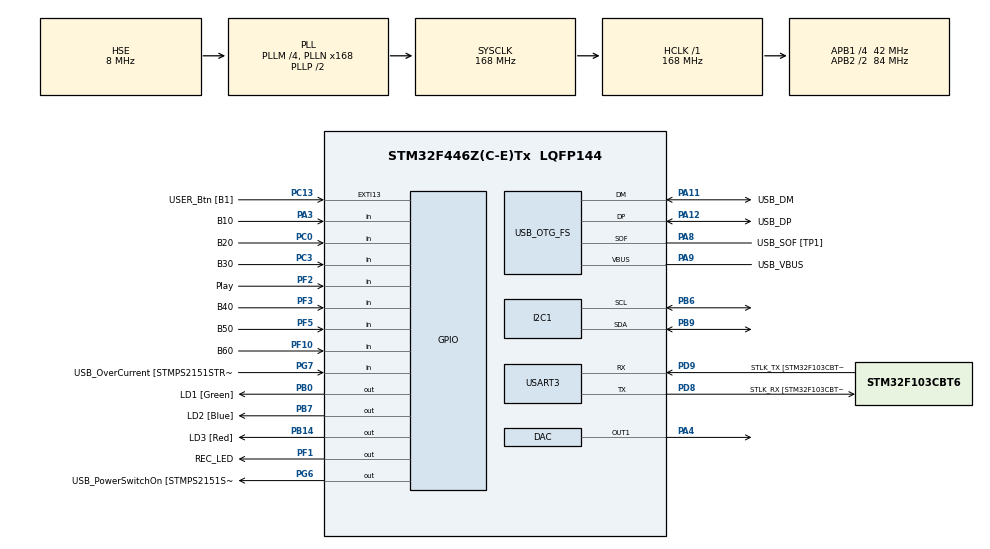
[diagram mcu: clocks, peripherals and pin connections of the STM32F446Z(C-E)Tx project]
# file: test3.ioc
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DAC.DAC_Trigger=DAC_TRIGGER_T4_TRGO
I2C1.I2C_Mode=I2C_Standard
Mcu.Family=STM32F4
Mcu.Name=STM32F446Z(C-E)Tx
Mcu.Package=LQFP144
NVIC.PriorityGroup=NVIC_PRIORITYGROUP_4
NVIC.TIM4_IRQn=true\:0\:0\:false\:false\:true\:true\:true\:true
PA10.GPIO_Label=USB_ID
PA10.Signal=USB_OTG_FS_ID
PA11.GPIO_Label=USB_DM
PA11.Mode=Device_Only
PA11.Signal=USB_OTG_FS_DM
PA12.GPIO_Label=USB_DP
PA12.Mode=Device_Only
PA12.Signal=USB_OTG_FS_DP
PA13.GPIO_Label=TMS
PA13.Mode=Serial_Wire
PA13.Signal=SYS_JTMS-SWDIO
PA14.GPIO_Label=TCK
PA14.Mode=Serial_Wire
PA14.Signal=SYS_JTCK-SWCLK
PA3.GPIO_Label=B10
PA3.GPIO_PuPd=GPIO_PULLDOWN
PA3.Signal=GPIO_Input
PA4.Signal=COMP_DAC1_group
PA8.GPIO_Label=USB_SOF [TP1]
PA8.Mode=Activate_SOF_FS
PA8.Signal=USB_OTG_FS_SOF
PA9.GPIO_Label=USB_VBUS
PA9.Mode=Activate_VBUS
PA9.Signal=USB_OTG_FS_VBUS
PB0.GPIO_Label=LD1 [Green]
PB0.Signal=GPIO_Output
PB14.GPIO_Label=LD3 [Red]
PB14.Signal=GPIO_Output
PB6.Mode=I2C
PB6.Signal=I2C1_SCL
PB7.GPIO_Label=LD2 [Blue]
PB7.Signal=GPIO_Output
PB9.Mode=I2C
PB9.Signal=I2C1_SDA
PC0.GPIO_Label=B20
PC0.GPIO_PuPd=GPIO_PULLDOWN
PC0.Signal=GPIO_Input
PC13.GPIO_Label=USER_Btn [B1]
PC13.Signal=GPXTI13
PC14-OSC32_IN.Mode=LSE-External-Oscillator
PC14-OSC32_IN.Signal=RCC_OSC32_IN
PC15-OSC32_OUT.Mode=LSE-External-Oscillator
PC15-OSC32_OUT.Signal=RCC_OSC32_OUT
PC3.GPIO_Label=B30
PC3.GPIO_PuPd=GPIO_PULLDOWN
PC3.Signal=GPIO_Input
PD8.GPIO_Label=STLK_RX [STM32F103CBT6_PA3]
PD8.Mode=Asynchronous
PD8.Signal=USART3_TX
PD9.GPIO_Label=STLK_TX [STM32F103CBT6_PA2]
PD9.Mode=Asynchronous
PD9.Signal=USART3_RX
PF1.GPIO_Label=REC_LED
PF1.Signal=GPIO_Output
PF10.GPIO_Label=B60
PF10.GPIO_PuPd=GPIO_PULLDOWN
PF10.Signal=GPIO_Input
PF2.GPIO_Label=Play
PF2.GPIO_PuPd=GPIO_PULLDOWN
PF2.Signal=GPIO_Input
PF3.GPIO_Label=B40
PF3.GPIO_PuPd=GPIO_PULLDOWN
PF3.Signal=GPIO_Input
PF5.GPIO_Label=B50
PF5.GPIO_PuPd=GPIO_PULLDOWN
PF5.Signal=GPIO_Input
PG6.GPIO_Label=USB_PowerSwitchOn [STMPS2151STR_EN]
PG6.Signal=GPIO_Output
PG7.GPIO_Label=USB_OverCurrent [STMPS2151STR_FAULT]
PG7.Signal=GPIO_Input
PH0-OSC_IN.GPIO_Label=MCO [STM32F103CBT6_PA8]
PH0-OSC_IN.Mode=HSE-External-Clock-Source
PH0-OSC_IN.Signal=RCC_OSC_IN
PH1-OSC_OUT.Mode=HSE-External-Clock-Source
PH1-OSC_OUT.Signal=RCC_OSC_OUT
ProjectManager.HeapSize=0x200
ProjectManager.StackSize=0x400
ProjectManager.TargetToolchain=STM32CubeIDE
RCC.48MHZClocksFreq_Value=24000000
RCC.AHBFreq_Value=168000000
RCC.APB1CLKDivider=RCC_HCLK_DIV4
RCC.APB1Freq_Value=42000000
RCC.APB1TimFreq_Value=84000000
RCC.APB2CLKDivider=RCC_HCLK_DIV2
RCC.APB2Freq_Value=84000000
RCC.APB2TimFreq_Value=168000000
RCC.CortexFreq_Value=168000000
RCC.HCLKFreq_Value=168000000
RCC.HSE_VALUE=8000000
RCC.HSI_VALUE=16000000
RCC.PLLM=4
RCC.PLLMUL=RCC_PLL_MUL9
RCC.PLLN=168
RCC.PLLQ=7
RCC.PRESCALERUSB=RCC_USBCLKSOURCE_PLL_DIV1_5
RCC.SYSCLKFreq_VALUE=168000000
RCC.SYSCLKSource=RCC_SYSCLKSOURCE_PLLCLK
RCC.SYSCLKSourceVirtual=RCC_SYSCLKSOURCE_PLLCLK
RCC.USBFreq_Value=48000000
RCC.VCOOutputFreq_Value=336000000
SH.COMP_DAC1_group.0=DAC_OUT1,DAC_OUT1
TIM4.Period=3809
TIM4.TIM_MasterOutputTrigger=TIM_TRGO_UPDATE
USART3.VirtualMode=VM_ASYNC
USB_OTG_FS.VirtualMode=Device_Only
VP_TIM4_VS_ClockSourceINT.Mode=Internal
board=NUCLEO-F446ZE

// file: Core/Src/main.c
/* USER CODE BEGIN Header */
/**
  ******************************************************************************
  * @file           : main.c
  * @brief          : Main program body
  ******************************************************************************
  * @attention
  *
  * Copyright (c) 2024 STMicroelectronics.
  * All rights reserved.
  *
  * This software is licensed under terms that can be found in the LICENSE file
  * in the root directory of this software component.
  * If no LICENSE file comes with this software, it is provided AS-IS.
  *
  ******************************************************************************
  */
/* USER CODE END Header */
#include "main.h"

/* USER CODE BEGIN Includes */
#include <stdio.h>
#include <string.h>
#include "crash-16bit.h"
#include "kick-16bit.h"
#include "tom1-16bit.h"
#include "snare-16bit.h"
#include "ride-16bit.h"
/* USER CODE END Includes */

/* USER CODE BEGIN PD */
#define NUM_TRACKS 5
#define NUM_BUTTONS 7
#define DAC_MAX_RANGE_UNSIGNED 32768 // 2^16 / 2
#define RECORD 1
#define DEFAULT 2
#define PLAY 0
/* USER CODE END PD */

/* USER CODE BEGIN PM */
#define NUM_SAMPLES(track) ((sizeof(track))/(sizeof(int16_t)))
/* USER CODE END PM */

DAC_HandleTypeDef hdac;

I2C_HandleTypeDef hi2c1;

TIM_HandleTypeDef htim4;

UART_HandleTypeDef huart3;

PCD_HandleTypeDef hpcd_USB_OTG_FS;

/* USER CODE BEGIN PV */
int timer_called;
/* USER CODE END PV */

void SystemClock_Config(void);
static void MX_GPIO_Init(void);
static void MX_USART3_UART_Init(void);
static void MX_USB_OTG_FS_PCD_Init(void);
static void MX_DAC_Init(void);
static void MX_TIM4_Init(void);
static void MX_I2C1_Init(void);

/* USER CODE BEGIN 0 */
/*
// Additional function to play a complete audio file uninterrupted
void play_sound(int totalSamples, const int16_t sound[]) {
	int currentSampleIndex = 0;
	while (currentSampleIndex < totalSamples)
	  {
		  signed int sample = sound[currentSampleIndex];

		  sample += 32768;
		  if (sample < -32768)
			  sample = -32768;
		  else if (sample > 32767)
			sample = 32767;

		  HAL_DAC_SetValue(&hdac, DAC_CHANNEL_1, DAC_ALIGN_12B_R, sample >>4);
		  currentSampleIndex++; // Move to the next sample
		  while(timer_called == 0) {
			continue;
		  }
		  timer_called = 0;
	  }
	// File done playing, reset current index
}
*/
/* USER CODE END 0 */

int main(void)
{

  /* MCU Configuration--------------------------------------------------------*/

  /* Reset of all peripherals, Initializes the Flash interface and the Systick. */
  HAL_Init();

  /* Configure the system clock */
  SystemClock_Config();

  /* Initialize all configured peripherals */
  MX_GPIO_Init();
  MX_USART3_UART_Init();
  MX_USB_OTG_FS_PCD_Init();
  MX_DAC_Init();
  MX_TIM4_Init();
  MX_I2C1_Init();
  /* USER CODE BEGIN 2 */
  char uart_buf[50];
  int uart_buf_len;
  int sample_counts[NUM_TRACKS] = {
	  NUM_SAMPLES(crash),
	  NUM_SAMPLES(kick),
	  NUM_SAMPLES(snare),
	  NUM_SAMPLES(tom1),
	  NUM_SAMPLES(ride)
  };
  int16_t const *track_list[NUM_TRACKS] = {
	  crash,
	  kick,
	  snare,
	  tom1,
	  ride
  };
  int track_samples_left[NUM_TRACKS] = {0};
  signed int dac_out = 0;
  unsigned int current_state[NUM_BUTTONS] = {0};
  int64_t button_not_pressed[NUM_BUTTONS] ={0};
  int mode = DEFAULT;
  int button_history[64] = {-1};
  int time_history[64] = {-1};
  int button_hist_indx = 0;
  int play_indx = 0;
  int64_t recording_counter = 0;
  uart_buf_len = sprintf(uart_buf, "Device initialization complete.\r\n");
  HAL_UART_Transmit(&huart3, (uint8_t *)uart_buf, uart_buf_len, 100);
  timer_called = 0;
  HAL_DAC_Start(&hdac, DAC_CHANNEL_1);
  HAL_TIM_Base_Start_IT(&htim4);
  /* USER CODE END 2 */

  /* Infinite loop */
  /* USER CODE BEGIN WHILE */
  HAL_GPIO_TogglePin(LD2_GPIO_Port, LD2_Pin);
  while (1)
  {

	// Reset dac out
	dac_out = 0;
	recording_counter++;

	// Get button inputs
	current_state[0] = HAL_GPIO_ReadPin(B10_GPIO_Port, B10_Pin);
	current_state[1] = HAL_GPIO_ReadPin(B20_GPIO_Port, B20_Pin);
	current_state[2] = HAL_GPIO_ReadPin(B30_GPIO_Port, B30_Pin);
	current_state[3] = HAL_GPIO_ReadPin(B40_GPIO_Port, B40_Pin);
	current_state[4] = HAL_GPIO_ReadPin(B50_GPIO_Port, B50_Pin);
	current_state[5] = HAL_GPIO_ReadPin(B60_GPIO_Port, B60_Pin);
	current_state[6] = HAL_GPIO_ReadPin(USER_Btn_GPIO_Port, USER_Btn_Pin);

	for(int button = 0; button < NUM_BUTTONS; button++) {
		if(current_state[button] == GPIO_PIN_RESET) {
			button_not_pressed[button]++;
		}
		if(current_state[button] == GPIO_PIN_SET && button_not_pressed[button] > 15) {
			//uart_buf_len = sprintf(uart_buf, "Button pressed: %d.\r\n", button);
			//HAL_UART_Transmit(&huart3, (uint8_t *)uart_buf, uart_buf_len, 100);
			button_not_pressed[button] = 0;
			if(button == 5) {
				if(mode == RECORD) {
					HAL_GPIO_TogglePin(LD2_GPIO_Port, LD2_Pin);
					HAL_GPIO_TogglePin(LD3_GPIO_Port, LD3_Pin);
					mode = DEFAULT;
					recording_counter = 0;
				}
				else if(mode == DEFAULT){
					HAL_GPIO_TogglePin(LD2_GPIO_Port, LD2_Pin);
					HAL_GPIO_TogglePin(LD3_GPIO_Port, LD3_Pin);
					mode = RECORD;
					recording_counter = 0;
					button_hist_indx = 0;
					memset(button_history, -1, sizeof(button_history));
					memset(time_history, -1, sizeof(time_history));
				}
				//uart_buf_len = sprintf(uart_buf, "MODE: %d.\r\n", mode);
				//HAL_UART_Transmit(&huart3, (uint8_t *)uart_buf, uart_buf_len, 100);
				break;
			}
			if(button == 6) {
				if(button_hist_indx > 0 && mode == DEFAULT) {
					HAL_GPIO_TogglePin(LD2_GPIO_Port, LD2_Pin);
					HAL_GPIO_TogglePin(LD1_GPIO_Port, LD1_Pin);
					mode = PLAY;
					recording_counter = 0;
					play_indx = 0;
				}
				else if(mode == PLAY) {
					HAL_GPIO_TogglePin(LD2_GPIO_Port, LD2_Pin);
					HAL_GPIO_TogglePin(LD1_GPIO_Port, LD1_Pin);
					mode = DEFAULT;
				}
				//uart_buf_len = sprintf(uart_buf, "MODE: %d.\r\n", mode);
				//HAL_UART_Transmit(&huart3, (uint8_t *)uart_buf, uart_buf_len, 100);
				break;
			}
			track_samples_left[button] = sample_counts[button];
			if(mode == RECORD) {
				button_history[button_hist_indx] = button;
				time_history[button_hist_indx] = recording_counter;
				button_hist_indx++;
			}
		 }
	}

	if(mode == PLAY) {
		if(time_history[play_indx] == recording_counter) {
			int button_rec = button_history[play_indx];
			play_indx++;
			if(time_history[play_indx] == -1) {
				play_indx = 0;
				recording_counter = 0;
			}
			track_samples_left[button_rec] = sample_counts[button_rec];
		}
	}

	// Mix sounds based on which button was pressed
	for(int i = 0; i < NUM_TRACKS; i++) {
		// Button was pressed so we want to play this sound
		if(track_samples_left[i] != 0) {
			// Get current sample index to play
			int current_sample = sample_counts[i] - track_samples_left[i];
			// Retrieve value from track being played
			dac_out += track_list[i][current_sample];
			// 1 less sample left
			track_samples_left[i]--;
		}
	}

	// Clip the audio to min or max value
	if(dac_out < -DAC_MAX_RANGE_UNSIGNED) {
		dac_out = -DAC_MAX_RANGE_UNSIGNED;
	}
	else if (dac_out > DAC_MAX_RANGE_UNSIGNED - 1) {
		dac_out = DAC_MAX_RANGE_UNSIGNED - 1;
	}

	// Add offset to convert signed to unsigned
	dac_out += DAC_MAX_RANGE_UNSIGNED;

	// Convert to 12 bits for the DAC
	HAL_DAC_SetValue(&hdac, DAC_CHANNEL_1, DAC_ALIGN_12B_R, dac_out >> 4);
	// Wait for timer reset to update DAC sample so it stays at correct sampling frequency
	while(timer_called == 0) {
		continue;
	}
	timer_called = 0;
    /* USER CODE END WHILE */

  }
}

void SystemClock_Config(void)
{
  RCC_OscInitTypeDef RCC_OscInitStruct = {0};
  RCC_ClkInitTypeDef RCC_ClkInitStruct = {0};

  /** Configure the main internal regulator output voltage
  */
  __HAL_RCC_PWR_CLK_ENABLE();
  __HAL_PWR_VOLTAGESCALING_CONFIG(PWR_REGULATOR_VOLTAGE_SCALE1);

  /** Initializes the RCC Oscillators according to the specified parameters
  * in the RCC_OscInitTypeDef structure.
  */
  RCC_OscInitStruct.OscillatorType = RCC_OSCILLATORTYPE_HSE;
  RCC_OscInitStruct.HSEState = RCC_HSE_BYPASS;
  RCC_OscInitStruct.PLL.PLLState = RCC_PLL_ON;
  RCC_OscInitStruct.PLL.PLLSource = RCC_PLLSOURCE_HSE;
  RCC_OscInitStruct.PLL.PLLM = 4;
  RCC_OscInitStruct.PLL.PLLN = 168;
  RCC_OscInitStruct.PLL.PLLP = RCC_PLLP_DIV2;
  RCC_OscInitStruct.PLL.PLLQ = 7;
  RCC_OscInitStruct.PLL.PLLR = 2;
  if (HAL_RCC_OscConfig(&RCC_OscInitStruct) != HAL_OK)
  {
    Error_Handler();
  }

  /** Initializes the CPU, AHB and APB buses clocks
  */
  RCC_ClkInitStruct.ClockType = RCC_CLOCKTYPE_HCLK|RCC_CLOCKTYPE_SYSCLK
                              |RCC_CLOCKTYPE_PCLK1|RCC_CLOCKTYPE_PCLK2;
  RCC_ClkInitStruct.SYSCLKSource = RCC_SYSCLKSOURCE_PLLCLK;
  RCC_ClkInitStruct.AHBCLKDivider = RCC_SYSCLK_DIV1;
  RCC_ClkInitStruct.APB1CLKDivider = RCC_HCLK_DIV4;
  RCC_ClkInitStruct.APB2CLKDivider = RCC_HCLK_DIV2;

  if (HAL_RCC_ClockConfig(&RCC_ClkInitStruct, FLASH_LATENCY_5) != HAL_OK)
  {
    Error_Handler();
  }
}

static void MX_DAC_Init(void)
{

  DAC_ChannelConfTypeDef sConfig = {0};

  /** DAC Initialization
  */
  hdac.Instance = DAC;
  if (HAL_DAC_Init(&hdac) != HAL_OK)
  {
    Error_Handler();
  }

  /** DAC channel OUT1 config
  */
  sConfig.DAC_Trigger = DAC_TRIGGER_T4_TRGO;
  sConfig.DAC_OutputBuffer = DAC_OUTPUTBUFFER_ENABLE;
  if (HAL_DAC_ConfigChannel(&hdac, &sConfig, DAC_CHANNEL_1) != HAL_OK)
  {
    Error_Handler();
  }

}

static void MX_I2C1_Init(void)
{

  hi2c1.Instance = I2C1;
  hi2c1.Init.ClockSpeed = 100000;
  hi2c1.Init.DutyCycle = I2C_DUTYCYCLE_2;
  hi2c1.Init.OwnAddress1 = 0;
  hi2c1.Init.AddressingMode = I2C_ADDRESSINGMODE_7BIT;
  hi2c1.Init.DualAddressMode = I2C_DUALADDRESS_DISABLE;
  hi2c1.Init.OwnAddress2 = 0;
  hi2c1.Init.GeneralCallMode = I2C_GENERALCALL_DISABLE;
  hi2c1.Init.NoStretchMode = I2C_NOSTRETCH_DISABLE;
  if (HAL_I2C_Init(&hi2c1) != HAL_OK)
  {
    Error_Handler();
  }

}

static void MX_TIM4_Init(void)
{

  TIM_ClockConfigTypeDef sClockSourceConfig = {0};
  TIM_MasterConfigTypeDef sMasterConfig = {0};

  htim4.Instance = TIM4;
  htim4.Init.Prescaler = 0;
  htim4.Init.CounterMode = TIM_COUNTERMODE_UP;
  htim4.Init.Period = 3809;
  htim4.Init.ClockDivision = TIM_CLOCKDIVISION_DIV1;
  htim4.Init.AutoReloadPreload = TIM_AUTORELOAD_PRELOAD_DISABLE;
  if (HAL_TIM_Base_Init(&htim4) != HAL_OK)
  {
    Error_Handler();
  }
  sClockSourceConfig.ClockSource = TIM_CLOCKSOURCE_INTERNAL;
  if (HAL_TIM_ConfigClockSource(&htim4, &sClockSourceConfig) != HAL_OK)
  {
    Error_Handler();
  }
  sMasterConfig.MasterOutputTrigger = TIM_TRGO_UPDATE;
  sMasterConfig.MasterSlaveMode = TIM_MASTERSLAVEMODE_DISABLE;
  if (HAL_TIMEx_MasterConfigSynchronization(&htim4, &sMasterConfig) != HAL_OK)
  {
    Error_Handler();
  }

}

static void MX_USART3_UART_Init(void)
{

  huart3.Instance = USART3;
  huart3.Init.BaudRate = 115200;
  huart3.Init.WordLength = UART_WORDLENGTH_8B;
  huart3.Init.StopBits = UART_STOPBITS_1;
  huart3.Init.Parity = UART_PARITY_NONE;
  huart3.Init.Mode = UART_MODE_TX_RX;
  huart3.Init.HwFlowCtl = UART_HWCONTROL_NONE;
  huart3.Init.OverSampling = UART_OVERSAMPLING_16;
  if (HAL_UART_Init(&huart3) != HAL_OK)
  {
    Error_Handler();
  }

}

static void MX_USB_OTG_FS_PCD_Init(void)
{

  hpcd_USB_OTG_FS.Instance = USB_OTG_FS;
  hpcd_USB_OTG_FS.Init.dev_endpoints = 6;
  hpcd_USB_OTG_FS.Init.speed = PCD_SPEED_FULL;
  hpcd_USB_OTG_FS.Init.dma_enable = DISABLE;
  hpcd_USB_OTG_FS.Init.phy_itface = PCD_PHY_EMBEDDED;
  hpcd_USB_OTG_FS.Init.Sof_enable = ENABLE;
  hpcd_USB_OTG_FS.Init.low_power_enable = DISABLE;
  hpcd_USB_OTG_FS.Init.lpm_enable = DISABLE;
  hpcd_USB_OTG_FS.Init.vbus_sensing_enable = ENABLE;
  hpcd_USB_OTG_FS.Init.use_dedicated_ep1 = DISABLE;
  if (HAL_PCD_Init(&hpcd_USB_OTG_FS) != HAL_OK)
  {
    Error_Handler();
  }

}

static void MX_GPIO_Init(void)
{
  GPIO_InitTypeDef GPIO_InitStruct = {0};

  /* GPIO Ports Clock Enable */
  __HAL_RCC_GPIOC_CLK_ENABLE();
  __HAL_RCC_GPIOF_CLK_ENABLE();
  __HAL_RCC_GPIOH_CLK_ENABLE();
  __HAL_RCC_GPIOA_CLK_ENABLE();
  __HAL_RCC_GPIOB_CLK_ENABLE();
  __HAL_RCC_GPIOD_CLK_ENABLE();
  __HAL_RCC_GPIOG_CLK_ENABLE();

  /*Configure GPIO pin Output Level */
  HAL_GPIO_WritePin(GPIOB, LD1_Pin|LD3_Pin|LD2_Pin, GPIO_PIN_RESET);

  /*Configure GPIO pin Output Level */
  HAL_GPIO_WritePin(USB_PowerSwitchOn_GPIO_Port, USB_PowerSwitchOn_Pin, GPIO_PIN_RESET);

  /*Configure GPIO pin : USER_Btn_Pin */
  GPIO_InitStruct.Pin = USER_Btn_Pin;
  GPIO_InitStruct.Mode = GPIO_MODE_IT_RISING;
  GPIO_InitStruct.Pull = GPIO_NOPULL;
  HAL_GPIO_Init(USER_Btn_GPIO_Port, &GPIO_InitStruct);

  /*Configure GPIO pins : B40_Pin B50_Pin B60_Pin */
  GPIO_InitStruct.Pin = B40_Pin|B50_Pin|B60_Pin;
  GPIO_InitStruct.Mode = GPIO_MODE_INPUT;
  GPIO_InitStruct.Pull = GPIO_PULLDOWN;
  HAL_GPIO_Init(GPIOF, &GPIO_InitStruct);

  /*Configure GPIO pins : B20_Pin B30_Pin */
  GPIO_InitStruct.Pin = B20_Pin|B30_Pin;
  GPIO_InitStruct.Mode = GPIO_MODE_INPUT;
  GPIO_InitStruct.Pull = GPIO_PULLDOWN;
  HAL_GPIO_Init(GPIOC, &GPIO_InitStruct);

  /*Configure GPIO pin : B10_Pin */
  GPIO_InitStruct.Pin = B10_Pin;
  GPIO_InitStruct.Mode = GPIO_MODE_INPUT;
  GPIO_InitStruct.Pull = GPIO_PULLDOWN;
  HAL_GPIO_Init(B10_GPIO_Port, &GPIO_InitStruct);

  /*Configure GPIO pins : LD1_Pin LD3_Pin LD2_Pin */
  GPIO_InitStruct.Pin = LD1_Pin|LD3_Pin|LD2_Pin;
  GPIO_InitStruct.Mode = GPIO_MODE_OUTPUT_PP;
  GPIO_InitStruct.Pull = GPIO_NOPULL;
  GPIO_InitStruct.Speed = GPIO_SPEED_FREQ_LOW;
  HAL_GPIO_Init(GPIOB, &GPIO_InitStruct);

  /*Configure GPIO pin : USB_PowerSwitchOn_Pin */
  GPIO_InitStruct.Pin = USB_PowerSwitchOn_Pin;
  GPIO_InitStruct.Mode = GPIO_MODE_OUTPUT_PP;
  GPIO_InitStruct.Pull = GPIO_NOPULL;
  GPIO_InitStruct.Speed = GPIO_SPEED_FREQ_LOW;
  HAL_GPIO_Init(USB_PowerSwitchOn_GPIO_Port, &GPIO_InitStruct);

  /*Configure GPIO pin : USB_OverCurrent_Pin */
  GPIO_InitStruct.Pin = USB_OverCurrent_Pin;
  GPIO_InitStruct.Mode = GPIO_MODE_INPUT;
  GPIO_InitStruct.Pull = GPIO_NOPULL;
  HAL_GPIO_Init(USB_OverCurrent_GPIO_Port, &GPIO_InitStruct);

}

/* USER CODE BEGIN 4 */
void HAL_TIM_PeriodElapsedCallback(TIM_HandleTypeDef *htim) {
	if(htim == &htim4) {
		timer_called = 1;
	}
}
/* USER CODE END 4 */

void Error_Handler(void)
{
  __disable_irq();
  while (1)
  {
  }
}
